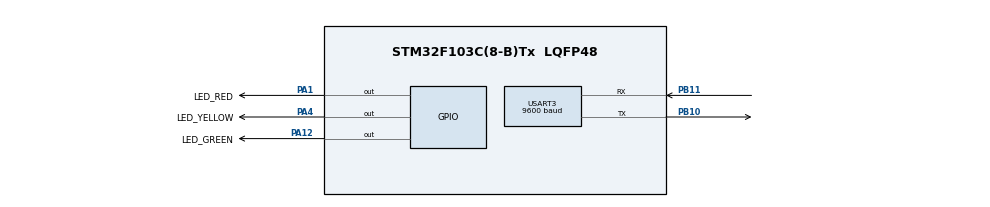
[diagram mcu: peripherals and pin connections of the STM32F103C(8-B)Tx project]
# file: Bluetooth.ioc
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Dma.Request0=USART3_RX
Dma.Request1=USART3_TX
Dma.USART3_RX.0.Direction=DMA_PERIPH_TO_MEMORY
Dma.USART3_RX.0.Instance=DMA1_Channel3
Dma.USART3_RX.0.MemDataAlignment=DMA_MDATAALIGN_BYTE
Dma.USART3_RX.0.MemInc=DMA_MINC_ENABLE
Dma.USART3_RX.0.Mode=DMA_NORMAL
Dma.USART3_RX.0.PeriphDataAlignment=DMA_PDATAALIGN_BYTE
Dma.USART3_RX.0.PeriphInc=DMA_PINC_DISABLE
Dma.USART3_RX.0.Priority=DMA_PRIORITY_LOW
Dma.USART3_TX.1.Direction=DMA_MEMORY_TO_PERIPH
Dma.USART3_TX.1.Instance=DMA1_Channel2
Dma.USART3_TX.1.MemDataAlignment=DMA_MDATAALIGN_BYTE
Dma.USART3_TX.1.MemInc=DMA_MINC_ENABLE
Dma.USART3_TX.1.Mode=DMA_NORMAL
Dma.USART3_TX.1.PeriphDataAlignment=DMA_PDATAALIGN_BYTE
Dma.USART3_TX.1.PeriphInc=DMA_PINC_DISABLE
Dma.USART3_TX.1.Priority=DMA_PRIORITY_LOW
Mcu.Family=STM32F1
Mcu.Name=STM32F103C(8-B)Tx
Mcu.Package=LQFP48
NVIC.DMA1_Channel2_IRQn=true\:0\:0\:false\:false\:true\:false\:true\:true
NVIC.DMA1_Channel3_IRQn=true\:0\:0\:false\:false\:true\:false\:true\:true
NVIC.PriorityGroup=NVIC_PRIORITYGROUP_4
NVIC.USART3_IRQn=true\:0\:0\:false\:false\:true\:true\:true\:true
PA1.GPIO_Label=LED_RED
PA1.Signal=GPIO_Output
PA12.GPIO_Label=LED_GREEN
PA12.Signal=GPIO_Output
PA13.Mode=Serial_Wire
PA13.Signal=SYS_JTMS-SWDIO
PA14.Mode=Serial_Wire
PA14.Signal=SYS_JTCK-SWCLK
PA4.GPIO_Label=LED_YELLOW
PA4.Signal=GPIO_Output
PB10.Mode=Asynchronous
PB10.Signal=USART3_TX
PB11.Mode=Asynchronous
PB11.Signal=USART3_RX
ProjectManager.HeapSize=0x200
ProjectManager.StackSize=0x400
ProjectManager.TargetToolchain=STM32CubeIDE
RCC.APB1Freq_Value=8000000
RCC.APB2Freq_Value=8000000
USART3.BaudRate=9600
USART3.VirtualMode=VM_ASYNC
board=custom

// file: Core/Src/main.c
/* USER CODE BEGIN Header */
/**
  ******************************************************************************
  * @file           : main.c
  * @brief          : Main program body
  ******************************************************************************
  * @attention
  *
  * Copyright (c) 2026 STMicroelectronics.
  * All rights reserved.
  *
  * This software is licensed under terms that can be found in the LICENSE file
  * in the root directory of this software component.
  * If no LICENSE file comes with this software, it is provided AS-IS.
  *
  ******************************************************************************
  */
/* USER CODE END Header */
#include "main.h"

/* USER CODE BEGIN Includes */
#include <string.h>
/* USER CODE END Includes */

UART_HandleTypeDef huart3;
DMA_HandleTypeDef hdma_usart3_rx;
DMA_HandleTypeDef hdma_usart3_tx;

/* USER CODE BEGIN PV */
/* ---- 健壮接收：缓冲累加 + 帧头定位 + 超时兜底 ---- */
#define RX_BUF_SIZE      128        // 重组缓冲，比单帧大一些
#define FRAME_TIMEOUT_MS 100         // 超过这个时间还没凑齐一帧，就丢弃残帧重同步

uint8_t rx_buf[RX_BUF_SIZE];         // 跨多次 IDLE 累积的重组缓冲
uint8_t rx_len = 0;                  // 缓冲里已收到的字节数
uint32_t last_rx_tick = 0;           // 上次收到字节的时间戳（HAL_GetTick）

uint8_t received_data[64];//数据缓存区
/* USER CODE END PV */

void SystemClock_Config(void);
static void MX_GPIO_Init(void);
static void MX_DMA_Init(void);
static void MX_USART3_UART_Init(void);

/* USER CODE BEGIN 0 */
/* 从重组缓冲里抽出“已经凑齐”的完整帧并执行；抽完一帧就把它从缓冲移除 */
static void ParseFrames(void)
{
    while (rx_len > 0)
    {
        /* 1) 不是帧头 0xAA → 丢掉这一字节，后面的往前移（自动跳过垃圾/干扰） */
        if (rx_buf[0] != 0xAA)
        {
            memmove(rx_buf, rx_buf + 1, rx_len - 1);
            rx_len--;
            continue;
        }

        /* 2) 至少要有“长度字节”才能知道整帧多大 */
        if (rx_len < 2)
            return;

        uint8_t frame_len = rx_buf[1];   // 第2字节 = 整帧长度

        /* 长度明显非法（过小或过大）→ 当无效帧头，丢弃 0xAA 重同步 */
        if (frame_len < 2 || frame_len > RX_BUF_SIZE)
        {
            memmove(rx_buf, rx_buf + 1, rx_len - 1);
            rx_len--;
            continue;
        }

        /* 3) 缓冲里还没凑齐这一整帧 → 先返回，等下次 IDLE 再来 */
        if (rx_len < frame_len)
            return;

        /* 4) 校验和：前面所有字节相加 == 最后一字节 */
        uint8_t sum = 0;
        for (int i = 0; i < frame_len - 1; i++)
            sum += rx_buf[i];

        if (sum == rx_buf[frame_len - 1])   // 校验通过才执行
        {
            for (int i = 2; i < frame_len - 1; i += 2)
            {
                GPIO_PinState state = GPIO_PIN_RESET;
                if (rx_buf[i + 1] == 0xFF)       state = GPIO_PIN_SET;
                else if (rx_buf[i + 1] == 0x00)  state = GPIO_PIN_RESET;

                if (rx_buf[i] == 0x01)       HAL_GPIO_WritePin(GPIOA, GPIO_PIN_1,  state);
                else if (rx_buf[i] == 0x02)  HAL_GPIO_WritePin(GPIOA, GPIO_PIN_12, state);
                else if (rx_buf[i] == 0x03)  HAL_GPIO_WritePin(GPIOA, GPIO_PIN_4,  state);
            }
        }

        /* 不管校验过没过，这一整帧都从缓冲移除，接着解析下一帧 */
        memmove(rx_buf, rx_buf + frame_len, rx_len - frame_len);
        rx_len -= frame_len;
    }
}

void HAL_UARTEx_RxEventCallback(UART_HandleTypeDef *huart, uint16_t Size)
{
    if (huart == &huart3)
    {
        /* 把这次 IDLE 收到的“一段”追加到重组缓冲（防溢出） */
        if (rx_len + Size <= RX_BUF_SIZE)
        {
            memcpy(rx_buf + rx_len, received_data, Size);
            rx_len += Size;
        }
        else
        {
            rx_len = 0;   // 缓冲满了，丢弃重来
        }

        last_rx_tick = HAL_GetTick();   // 记录“刚收到字节”的时间
        ParseFrames();                  // 试着从缓冲里抽出完整帧

        HAL_UART_Transmit_DMA(&huart3, received_data, Size);   // 原样回显（不变）

        HAL_UARTEx_ReceiveToIdle_DMA(&huart3, received_data, sizeof(received_data));
        __HAL_DMA_DISABLE_IT(&hdma_usart3_rx, DMA_IT_HT);
    }
}
/* USER CODE END 0 */

int main(void)
{

  /* MCU Configuration--------------------------------------------------------*/

  /* Reset of all peripherals, Initializes the Flash interface and the Systick. */
  HAL_Init();

  /* Configure the system clock */
  SystemClock_Config();

  /* Initialize all configured peripherals */
  MX_GPIO_Init();
  MX_DMA_Init();
  MX_USART3_UART_Init();
  /* USER CODE BEGIN 2 */
    HAL_UARTEx_ReceiveToIdle_DMA(&huart3, received_data, sizeof(received_data));//接收不定长数据
    //DMA模式多一个传输过半中断
    //DMA关闭函数 选择DMA地址（哪个串口，rx还是tx），选择函数这里为传输过半中断函数
    __HAL_DMA_DISABLE_IT(&hdma_usart3_rx, DMA_IT_HT);
  /* USER CODE END 2 */

  /* Infinite loop */
  while (1)
  {

    /* USER CODE BEGIN 3 */
    /* 超时兜底：收了一半却迟迟凑不齐（残帧/干扰），丢弃重同步 */
    if (rx_len > 0 && (HAL_GetTick() - last_rx_tick) > FRAME_TIMEOUT_MS)
    {
        rx_len = 0;
    }
  }
  /* USER CODE END 3 */
}

void SystemClock_Config(void)
{
  RCC_OscInitTypeDef RCC_OscInitStruct = {0};
  RCC_ClkInitTypeDef RCC_ClkInitStruct = {0};

  /** Initializes the RCC Oscillators according to the specified parameters
  * in the RCC_OscInitTypeDef structure.
  */
  RCC_OscInitStruct.OscillatorType = RCC_OSCILLATORTYPE_HSI;
  RCC_OscInitStruct.HSIState = RCC_HSI_ON;
  RCC_OscInitStruct.HSICalibrationValue = RCC_HSICALIBRATION_DEFAULT;
  RCC_OscInitStruct.PLL.PLLState = RCC_PLL_NONE;
  if (HAL_RCC_OscConfig(&RCC_OscInitStruct) != HAL_OK)
  {
    Error_Handler();
  }

  /** Initializes the CPU, AHB and APB buses clocks
  */
  RCC_ClkInitStruct.ClockType = RCC_CLOCKTYPE_HCLK|RCC_CLOCKTYPE_SYSCLK
                              |RCC_CLOCKTYPE_PCLK1|RCC_CLOCKTYPE_PCLK2;
  RCC_ClkInitStruct.SYSCLKSource = RCC_SYSCLKSOURCE_HSI;
  RCC_ClkInitStruct.AHBCLKDivider = RCC_SYSCLK_DIV1;
  RCC_ClkInitStruct.APB1CLKDivider = RCC_HCLK_DIV1;
  RCC_ClkInitStruct.APB2CLKDivider = RCC_HCLK_DIV1;

  if (HAL_RCC_ClockConfig(&RCC_ClkInitStruct, FLASH_LATENCY_0) != HAL_OK)
  {
    Error_Handler();
  }
}

static void MX_USART3_UART_Init(void)
{

  huart3.Instance = USART3;
  huart3.Init.BaudRate = 9600;
  huart3.Init.WordLength = UART_WORDLENGTH_8B;
  huart3.Init.StopBits = UART_STOPBITS_1;
  huart3.Init.Parity = UART_PARITY_NONE;
  huart3.Init.Mode = UART_MODE_TX_RX;
  huart3.Init.HwFlowCtl = UART_HWCONTROL_NONE;
  huart3.Init.OverSampling = UART_OVERSAMPLING_16;
  if (HAL_UART_Init(&huart3) != HAL_OK)
  {
    Error_Handler();
  }

}

static void MX_DMA_Init(void)
{

  /* DMA controller clock enable */
  __HAL_RCC_DMA1_CLK_ENABLE();

  /* DMA interrupt init */
  /* DMA1_Channel2_IRQn interrupt configuration */
  HAL_NVIC_SetPriority(DMA1_Channel2_IRQn, 0, 0);
  HAL_NVIC_EnableIRQ(DMA1_Channel2_IRQn);
  /* DMA1_Channel3_IRQn interrupt configuration */
  HAL_NVIC_SetPriority(DMA1_Channel3_IRQn, 0, 0);
  HAL_NVIC_EnableIRQ(DMA1_Channel3_IRQn);

}

static void MX_GPIO_Init(void)
{
  GPIO_InitTypeDef GPIO_InitStruct = {0};

  /* GPIO Ports Clock Enable */
  __HAL_RCC_GPIOA_CLK_ENABLE();
  __HAL_RCC_GPIOB_CLK_ENABLE();

  /*Configure GPIO pin Output Level */
  HAL_GPIO_WritePin(GPIOA, LED_RED_Pin|LED_YELLOW_Pin|LED_GREEN_Pin, GPIO_PIN_RESET);

  /*Configure GPIO pins : LED_RED_Pin LED_YELLOW_Pin LED_GREEN_Pin */
  GPIO_InitStruct.Pin = LED_RED_Pin|LED_YELLOW_Pin|LED_GREEN_Pin;
  GPIO_InitStruct.Mode = GPIO_MODE_OUTPUT_PP;
  GPIO_InitStruct.Pull = GPIO_NOPULL;
  GPIO_InitStruct.Speed = GPIO_SPEED_FREQ_LOW;
  HAL_GPIO_Init(GPIOA, &GPIO_InitStruct);

}

void Error_Handler(void)
{
  __disable_irq();
  while (1)
  {
  }
}
